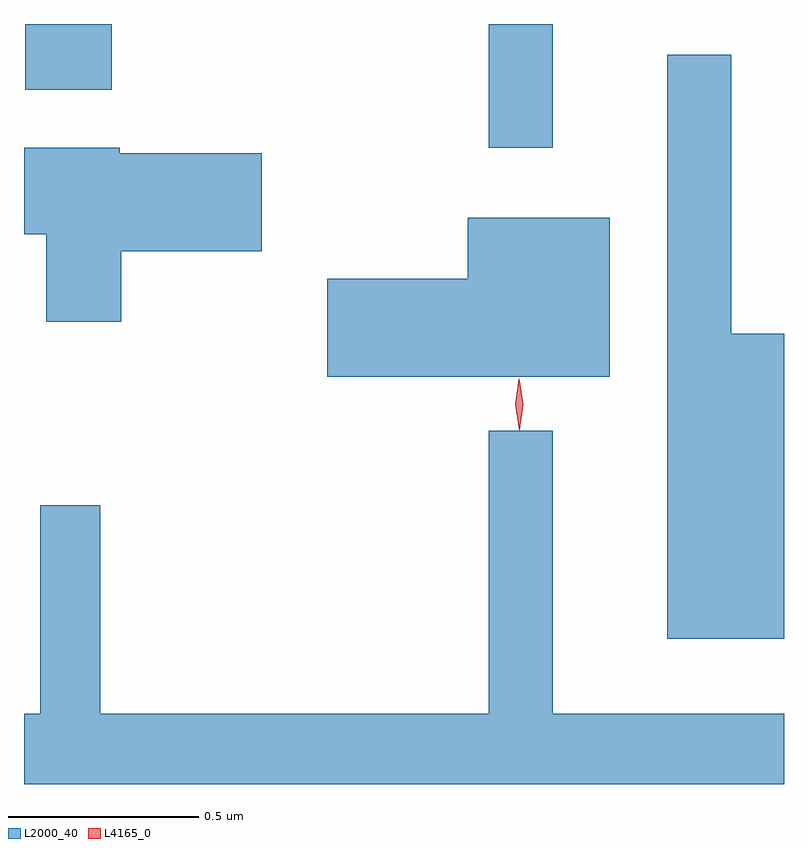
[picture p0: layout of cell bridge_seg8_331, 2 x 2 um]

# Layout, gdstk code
import gdstk
lib = gdstk.Library(unit=1e-6, precision=1e-09)
def R(c, l, rs):  # rectangles x0, y0, x1, y1
    for r in rs: c.add(gdstk.rectangle(r[:2], r[2:], *l))
def P(c, l, *ps):  # polygons
    for p in ps: c.add(gdstk.Polygon(p, *l))
L2000_40 = (2000, 40)
L4165_0 = (4165, 0)

bridge_seg8_331 = lib.new_cell('bridge_seg8_331')
R(bridge_seg8_331, L2000_40, [(993.091,1942.513,993.259,1942.839), (991.871,1942.666,992.099,1942.839)])
P(bridge_seg8_331, L2000_40, [(993.868,1942.024),(993.729,1942.024),(993.729,1942.758),(993.561,1942.758),(993.561,1941.221),(993.868,1941.221)],
  [(992.124,1942.241),(992.494,1942.241),(992.494,1942.499),(992.12,1942.499),(992.12,1942.514),(991.868,1942.514),(991.868,1942.286),(991.926,1942.286),(991.926,1942.056),(992.124,1942.056)],
  [(993.409,1942.329),(993.036,1942.329),(993.036,1942.169),(992.666,1942.169),(992.666,1941.911),(993.409,1941.911)],
  [(993.868,1941.024),(993.259,1941.024),(993.259,1941.768),(993.091,1941.768),(993.091,1941.024),(992.069,1941.024),(992.069,1941.573),(991.911,1941.573),(991.911,1941.024),(991.868,1941.024),(991.868,1940.839),(993.868,1940.839)])
P(bridge_seg8_331, L4165_0, [(993.171,1941.77),(993.161,1941.838),(993.17,1941.905),(993.171,1941.906),(993.171,1941.905),(993.181,1941.838),(993.172,1941.77),(993.172,1941.77)],
  [(993.172,1941.773),(993.171,1941.774),(993.162,1941.837),(993.171,1941.899),(993.172,1941.9),(993.172,1941.899),(993.182,1941.837),(993.172,1941.774)])

lib.write_gds('bridge_seg8_331.gds')
